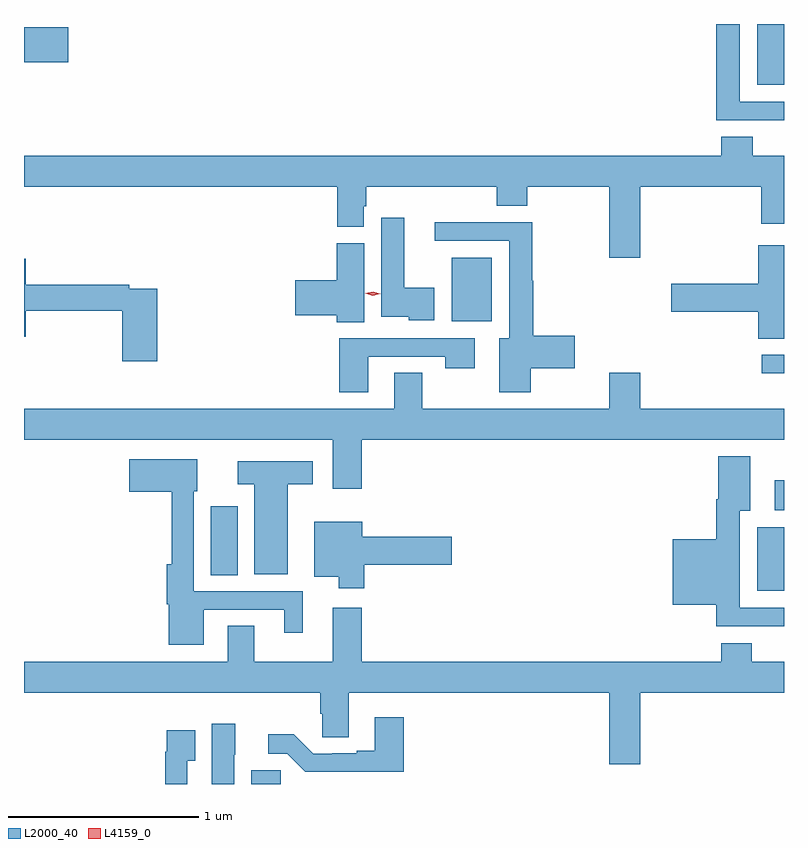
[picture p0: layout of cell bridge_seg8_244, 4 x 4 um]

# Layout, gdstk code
import gdstk
lib = gdstk.Library(unit=1e-6, precision=1e-09)
def R(c, l, rs):  # rectangles x0, y0, x1, y1
    for r in rs: c.add(gdstk.rectangle(r[:2], r[2:], *l))
def P(c, l, *ps):  # polygons
    for p in ps: c.add(gdstk.Polygon(p, *l))
L2000_40 = (2000, 40)
L4159_0 = (4159, 0)

bridge_seg8_244 = lib.new_cell('bridge_seg8_244')
R(bridge_seg8_244, L2000_40, [(271.016,1137.333,271.172,1137.405), (273.68,1138.349,273.821,1138.684), (270.803,1138.432,270.946,1138.795), (273.771,1138.773,273.821,1138.933), (273.705,1139.496,273.821,1139.592), (272.072,1139.768,272.284,1140.103), (273.68,1141.013,273.821,1141.333), (269.821,1141.133,270.055,1141.316)])
P(bridge_seg8_244, L2000_40, [(273.821,1140.924),(273.589,1140.924),(273.589,1141.333),(273.464,1141.333),(273.464,1140.827),(273.821,1140.827)],
  [(273.064,1140.476),(273.701,1140.476),(273.701,1140.282),(273.821,1140.282),(273.821,1140.64),(273.656,1140.64),(273.656,1140.739),(273.491,1140.739),(273.491,1140.64),(269.821,1140.64),(269.821,1140.476),(271.469,1140.476),(271.469,1140.265),(271.609,1140.265),(271.609,1140.375),(271.622,1140.375),(271.622,1140.476),(272.309,1140.476),(272.309,1140.377),(272.469,1140.377),(272.469,1140.476),(272.9,1140.476),(272.9,1140.102),(273.064,1140.102)],
  [(271.981,1139.945),(271.822,1139.945),(271.822,1140.313),(271.7,1140.313),(271.7,1139.792),(271.845,1139.792),(271.845,1139.774),(271.981,1139.774)],
  [(272.488,1139.522),(272.719,1139.522),(272.719,1139.693),(272.501,1139.693),(272.501,1139.981),(272.496,1139.981),(272.496,1140.29),(271.983,1140.29),(271.983,1140.192),(272.375,1140.192),(272.375,1139.68),(272.321,1139.68),(272.321,1139.394),(272.488,1139.394)],
  [(271.612,1140.18),(271.466,1140.18),(271.466,1139.984),(271.248,1139.984),(271.248,1139.801),(271.466,1139.801),(271.466,1139.764),(271.612,1139.764)],
  [(273.821,1140.169),(273.686,1140.169),(273.686,1139.966),(273.228,1139.966),(273.228,1139.819),(273.686,1139.819),(273.686,1139.677),(273.821,1139.677)],
  [(270.521,1139.94),(270.374,1139.94),(270.374,1139.96),(269.83,1139.96),(269.83,1140.097),(269.821,1140.097),(269.821,1139.687),(269.83,1139.687),(269.83,1139.824),(270.338,1139.824),(270.338,1139.559),(270.521,1139.559)],
  [(271.633,1139.583),(272.038,1139.583),(272.038,1139.52),(272.194,1139.52),(272.194,1139.679),(271.481,1139.679),(271.481,1139.394),(271.633,1139.394)],
  [(271.598,1139.144),(273.821,1139.144),(273.821,1139.308),(273.064,1139.308),(273.064,1139.497),(272.9,1139.497),(272.9,1139.308),(271.917,1139.308),(271.917,1139.498),(271.769,1139.498),(271.769,1139.308),(269.821,1139.308),(269.821,1139.144),(271.445,1139.144),(271.445,1138.887),(271.598,1138.887)],
  [(273.821,1138.26),(273.589,1138.26),(273.589,1138.772),(273.643,1138.772),(273.643,1139.059),(273.476,1139.059),(273.476,1138.832),(273.464,1138.832),(273.464,1138.621),(273.236,1138.621),(273.236,1138.277),(273.464,1138.277),(273.464,1138.163),(273.821,1138.163)],
  [(270.766,1138.251),(271.19,1138.251),(271.19,1138.128),(271.288,1138.128),(271.288,1138.347),(270.714,1138.347),(270.714,1138.875),(270.733,1138.875),(270.733,1139.041),(270.375,1139.041),(270.375,1138.871),(270.598,1138.871),(270.598,1138.489),(270.572,1138.489),(270.572,1138.278),(270.584,1138.278),(270.584,1138.067),(270.766,1138.067)],
  [(271.21,1138.91),(271.342,1138.91),(271.342,1139.032),(270.945,1139.032),(270.945,1138.91),(271.034,1138.91),(271.034,1138.436),(271.21,1138.436)],
  [(271.613,1138.487),(272.071,1138.487),(272.071,1138.634),(271.6,1138.634),(271.6,1138.714),(271.349,1138.714),(271.349,1138.424),(271.478,1138.424),(271.478,1138.362),(271.613,1138.362)],
  [(273.064,1137.812),(273.821,1137.812),(273.821,1137.976),(273.651,1137.976),(273.651,1138.075),(273.491,1138.075),(273.491,1137.976),(271.598,1137.976),(271.598,1138.261),(271.445,1138.261),(271.445,1137.976),(271.033,1137.976),(271.033,1138.166),(270.893,1138.166),(270.893,1137.976),(269.821,1137.976),(269.821,1137.812),(271.379,1137.812),(271.379,1137.702),(271.392,1137.702),(271.392,1137.58),(271.531,1137.58),(271.531,1137.812),(272.9,1137.812),(272.9,1137.438),(273.064,1137.438)],
  [(271.82,1137.685),(271.667,1137.685),(271.667,1137.508),(271.571,1137.508),(271.571,1137.495),(271.444,1137.495),(271.444,1137.492),(271.344,1137.492),(271.242,1137.595),(271.107,1137.595),(271.107,1137.492),(271.206,1137.492),(271.3,1137.398),(271.82,1137.398)],
  [(270.928,1137.486),(270.934,1137.486),(270.934,1137.649),(270.809,1137.649),(270.809,1137.333),(270.928,1137.333)],
  [(270.681,1137.455),(270.721,1137.455),(270.721,1137.616),(270.573,1137.616),(270.573,1137.503),(270.565,1137.503),(270.565,1137.333),(270.681,1137.333)])
P(bridge_seg8_244, L4159_0, [(271.657,1139.904),(271.617,1139.916),(271.617,1139.916),(271.617,1139.916),(271.658,1139.924),(271.697,1139.913),(271.697,1139.913),(271.697,1139.913)])

lib.write_gds('bridge_seg8_244.gds')
